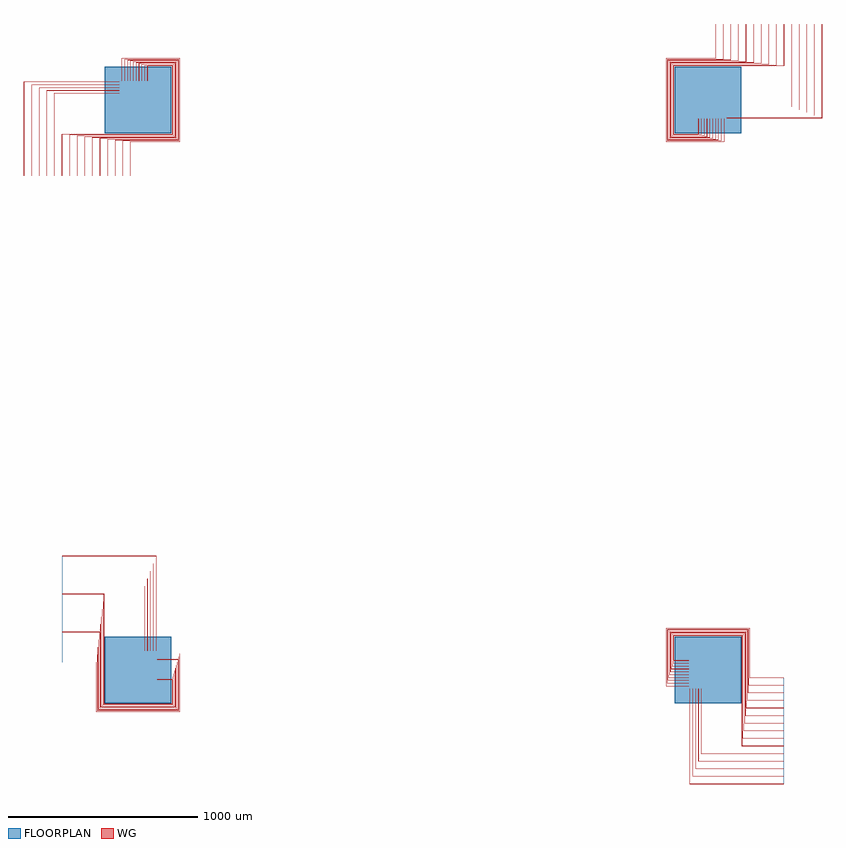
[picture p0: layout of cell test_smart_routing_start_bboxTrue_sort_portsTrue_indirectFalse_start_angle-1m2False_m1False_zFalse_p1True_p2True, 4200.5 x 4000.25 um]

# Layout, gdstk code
import gdstk
lib = gdstk.Library(unit=1e-6, precision=1e-09)
def R(c, l, rs):  # rectangles x0, y0, x1, y1
    for r in rs: c.add(gdstk.rectangle(r[:2], r[2:], *l))
def P(c, l, *ps):  # polygons
    for p in ps: c.add(gdstk.Polygon(p, *l))
WG = (1, 0)
FLOORPLAN = (10, 0)

test_smart_routing_start = lib.new_cell('test_smart_routing_start_bboxTrue_sort_portsTrue_indirectFalse_start_angle-1m2False_m1False_zFalse_p1True_p2True')
P(test_smart_routing_start, WG, [(3100,2905.05),(3100,2905.25),(3599.75,2905.25),(3599.75,3400),(3599.95,3400),(3599.95,2905.05)],
  [(3100,2904.75),(3100,2904.95),(3600.05,2904.95),(3600.05,3400),(3600.25,3400),(3600.25,2904.75)],
  [(3100,2920.05),(3100,2920.25),(3559.75,2920.25),(3559.75,3400),(3559.95,3400),(3559.95,2920.05)],
  [(3100,2919.75),(3100,2919.95),(3560.05,2919.95),(3560.05,3400),(3560.25,3400),(3560.25,2919.75)],
  [(3100,2935.05),(3100,2935.25),(3519.75,2935.25),(3519.75,3400),(3519.95,3400),(3519.95,2935.05)],
  [(3100,2934.75),(3100,2934.95),(3520.05,2934.95),(3520.05,3400),(3520.25,3400),(3520.25,2934.75)],
  [(3100,2950.05),(3100,2950.25),(3479.75,2950.25),(3479.75,3400),(3479.95,3400),(3479.95,2950.05)],
  [(3100,2949.75),(3100,2949.95),(3480.05,2949.95),(3480.05,3400),(3480.25,3400),(3480.25,2949.75)],
  [(3100,2965.05),(3100,2965.25),(3439.75,2965.25),(3439.75,3400),(3439.95,3400),(3439.95,2965.05)],
  [(3100,2964.75),(3100,2964.95),(3440.05,2964.95),(3440.05,3400),(3440.25,3400),(3440.25,2964.75)],
  [(2820.5,2820.5),(2820.5,3179.5),(3399.75,3179.5),(3399.75,3400),(3399.95,3400),(3399.95,3179.3),(2820.7,3179.3),(2820.7,2820.7),(2950.05,2820.7),(2950.05,2900),(2950.25,2900),(2950.25,2820.5)],
  [(2820.8,2820.8),(2820.8,3179.2),(3400.05,3179.2),(3400.05,3400),(3400.25,3400),(3400.25,3179),(2821,3179),(2821,2821),(2949.75,2821),(2949.75,2900),(2949.95,2900),(2949.95,2820.8)],
  [(2816,2816),(2816,3184),(3359.75,3184),(3359.75,3400),(3359.95,3400),(3359.95,3183.8),(2816.2,3183.8),(2816.2,2816.2),(2965.05,2816.2),(2965.05,2900),(2965.25,2900),(2965.25,2816)],
  [(2816.3,2816.3),(2816.3,3183.7),(3360.05,3183.7),(3360.05,3400),(3360.25,3400),(3360.25,3183.5),(2816.5,3183.5),(2816.5,2816.5),(2964.75,2816.5),(2964.75,2900),(2964.95,2900),(2964.95,2816.3)],
  [(2811.5,2811.5),(2811.5,3188.5),(3319.75,3188.5),(3319.75,3400),(3319.95,3400),(3319.95,3188.3),(2811.7,3188.3),(2811.7,2811.7),(2980.05,2811.7),(2980.05,2900),(2980.25,2900),(2980.25,2811.5)],
  [(2811.8,2811.8),(2811.8,3188.2),(3320.05,3188.2),(3320.05,3400),(3320.25,3400),(3320.25,3188),(2812,3188),(2812,2812),(2979.75,2812),(2979.75,2900),(2979.95,2900),(2979.95,2811.8)],
  [(2807,2807),(2807,3193),(3279.75,3193),(3279.75,3400),(3279.95,3400),(3279.95,3192.8),(2807.2,3192.8),(2807.2,2807.2),(2995.05,2807.2),(2995.05,2900),(2995.25,2900),(2995.25,2807)],
  [(2807.3,2807.3),(2807.3,3192.7),(3280.05,3192.7),(3280.05,3400),(3280.25,3400),(3280.25,3192.5),(2807.5,3192.5),(2807.5,2807.5),(2994.75,2807.5),(2994.75,2900),(2994.95,2900),(2994.95,2807.3)],
  [(2802.5,2802.5),(2802.5,3197.5),(3239.75,3197.5),(3239.75,3400),(3239.95,3400),(3239.95,3197.3),(2802.7,3197.3),(2802.7,2802.7),(3010.05,2802.7),(3010.05,2900),(3010.25,2900),(3010.25,2802.5)],
  [(2802.8,2802.8),(2802.8,3197.2),(3240.05,3197.2),(3240.05,3400),(3240.25,3400),(3240.25,3197),(2803,3197),(2803,2803),(3009.75,2803),(3009.75,2900),(3009.95,2900),(3009.95,2802.8)],
  [(2798,2798),(2798,3202),(3199.75,3202),(3199.75,3400),(3199.95,3400),(3199.95,3201.8),(2798.2,3201.8),(2798.2,2798.2),(3025.05,2798.2),(3025.05,2900),(3025.25,2900),(3025.25,2798)],
  [(2798.3,2798.3),(2798.3,3201.7),(3200.05,3201.7),(3200.05,3400),(3200.25,3400),(3200.25,3201.5),(2798.5,3201.5),(2798.5,2798.5),(3024.75,2798.5),(3024.75,2900),(3024.95,2900),(3024.95,2798.3)],
  [(2793.5,2793.5),(2793.5,3206.5),(3159.75,3206.5),(3159.75,3400),(3159.95,3400),(3159.95,3206.3),(2793.7,3206.3),(2793.7,2793.7),(3040.05,2793.7),(3040.05,2900),(3040.25,2900),(3040.25,2793.5)],
  [(2793.8,2793.8),(2793.8,3206.2),(3160.05,3206.2),(3160.05,3400),(3160.25,3400),(3160.25,3206),(2794,3206),(2794,2794),(3039.75,2794),(3039.75,2900),(3039.95,2900),(3039.95,2793.8)],
  [(2789,2789),(2789,3211),(3119.75,3211),(3119.75,3400),(3119.95,3400),(3119.95,3210.8),(2789.2,3210.8),(2789.2,2789.2),(3055.05,2789.2),(3055.05,2900),(3055.25,2900),(3055.25,2789)],
  [(2789.3,2789.3),(2789.3,3210.7),(3120.05,3210.7),(3120.05,3400),(3120.25,3400),(3120.25,3210.5),(2789.5,3210.5),(2789.5,2789.5),(3054.75,2789.5),(3054.75,2900),(3054.95,2900),(3054.95,2789.3)],
  [(2784.5,2784.5),(2784.5,3215.5),(3079.75,3215.5),(3079.75,3400),(3079.95,3400),(3079.95,3215.3),(2784.7,3215.3),(2784.7,2784.7),(3070.05,2784.7),(3070.05,2900),(3070.25,2900),(3070.25,2784.5)],
  [(2784.8,2784.8),(2784.8,3215.2),(3080.05,3215.2),(3080.05,3400),(3080.25,3400),(3080.25,3215),(2785,3215),(2785,2785),(3069.75,2785),(3069.75,2900),(3069.95,2900),(3069.95,2784.8)],
  [(2780,2780),(2780,3220),(3039.75,3220),(3039.75,3400),(3039.95,3400),(3039.95,3219.8),(2780.2,3219.8),(2780.2,2780.2),(3085.05,2780.2),(3085.05,2900),(3085.25,2900),(3085.25,2780)],
  [(2780.3,2780.3),(2780.3,3219.7),(3040.05,3219.7),(3040.05,3400),(3040.25,3400),(3040.25,3219.5),(2780.5,3219.5),(2780.5,2780.5),(3084.75,2780.5),(3084.75,2900),(3084.95,2900),(3084.95,2780.3)],
  [(-599.95,2600),(-599.95,3094.95),(-100,3094.95),(-100,3094.75),(-599.75,3094.75),(-599.75,2600)],
  [(-600.25,2600),(-600.25,3095.25),(-100,3095.25),(-100,3095.05),(-600.05,3095.05),(-600.05,2600)],
  [(-559.95,2600),(-559.95,3079.95),(-100,3079.95),(-100,3079.75),(-559.75,3079.75),(-559.75,2600)],
  [(-560.25,2600),(-560.25,3080.25),(-100,3080.25),(-100,3080.05),(-560.05,3080.05),(-560.05,2600)],
  [(-519.95,2600),(-519.95,3064.95),(-100,3064.95),(-100,3064.75),(-519.75,3064.75),(-519.75,2600)],
  [(-520.25,2600),(-520.25,3065.25),(-100,3065.25),(-100,3065.05),(-520.05,3065.05),(-520.05,2600)],
  [(-479.95,2600),(-479.95,3049.95),(-100,3049.95),(-100,3049.75),(-479.75,3049.75),(-479.75,2600)],
  [(-480.25,2600),(-480.25,3050.25),(-100,3050.25),(-100,3050.05),(-480.05,3050.05),(-480.05,2600)],
  [(-439.95,2600),(-439.95,3034.95),(-100,3034.95),(-100,3034.75),(-439.75,3034.75),(-439.75,2600)],
  [(-440.25,2600),(-440.25,3035.25),(-100,3035.25),(-100,3035.05),(-440.05,3035.05),(-440.05,2600)],
  [(-400.25,2600),(-400.25,2821),(179,2821),(179,3179),(50.25,3179),(50.25,3100),(50.05,3100),(50.05,3179.2),(179.2,3179.2),(179.2,2820.8),(-400.05,2820.8),(-400.05,2600)],
  [(-399.95,2600),(-399.95,2820.7),(179.3,2820.7),(179.3,3179.3),(49.95,3179.3),(49.95,3100),(49.75,3100),(49.75,3179.5),(179.5,3179.5),(179.5,2820.5),(-399.75,2820.5),(-399.75,2600)],
  [(-360.25,2600),(-360.25,2816.5),(183.5,2816.5),(183.5,3183.5),(35.25,3183.5),(35.25,3100),(35.05,3100),(35.05,3183.7),(183.7,3183.7),(183.7,2816.3),(-360.05,2816.3),(-360.05,2600)],
  [(-359.95,2600),(-359.95,2816.2),(183.8,2816.2),(183.8,3183.8),(34.95,3183.8),(34.95,3100),(34.75,3100),(34.75,3184),(184,3184),(184,2816),(-359.75,2816),(-359.75,2600)],
  [(-320.25,2600),(-320.25,2812),(188,2812),(188,3188),(20.25,3188),(20.25,3100),(20.05,3100),(20.05,3188.2),(188.2,3188.2),(188.2,2811.8),(-320.05,2811.8),(-320.05,2600)],
  [(-319.95,2600),(-319.95,2811.7),(188.3,2811.7),(188.3,3188.3),(19.95,3188.3),(19.95,3100),(19.75,3100),(19.75,3188.5),(188.5,3188.5),(188.5,2811.5),(-319.75,2811.5),(-319.75,2600)],
  [(-280.25,2600),(-280.25,2807.5),(192.5,2807.5),(192.5,3192.5),(5.25,3192.5),(5.25,3100),(5.05,3100),(5.05,3192.7),(192.7,3192.7),(192.7,2807.3),(-280.05,2807.3),(-280.05,2600)],
  [(-279.95,2600),(-279.95,2807.2),(192.8,2807.2),(192.8,3192.8),(4.95,3192.8),(4.95,3100),(4.75,3100),(4.75,3193),(193,3193),(193,2807),(-279.75,2807),(-279.75,2600)],
  [(-240.25,2600),(-240.25,2803),(197,2803),(197,3197),(-9.75,3197),(-9.75,3100),(-9.95,3100),(-9.95,3197.2),(197.2,3197.2),(197.2,2802.8),(-240.05,2802.8),(-240.05,2600)],
  [(-239.95,2600),(-239.95,2802.7),(197.3,2802.7),(197.3,3197.3),(-10.05,3197.3),(-10.05,3100),(-10.25,3100),(-10.25,3197.5),(197.5,3197.5),(197.5,2802.5),(-239.75,2802.5),(-239.75,2600)],
  [(-200.25,2600),(-200.25,2798.5),(201.5,2798.5),(201.5,3201.5),(-24.75,3201.5),(-24.75,3100),(-24.95,3100),(-24.95,3201.7),(201.7,3201.7),(201.7,2798.3),(-200.05,2798.3),(-200.05,2600)],
  [(-199.95,2600),(-199.95,2798.2),(201.8,2798.2),(201.8,3201.8),(-25.05,3201.8),(-25.05,3100),(-25.25,3100),(-25.25,3202),(202,3202),(202,2798),(-199.75,2798),(-199.75,2600)],
  [(-160.25,2600),(-160.25,2794),(206,2794),(206,3206),(-39.75,3206),(-39.75,3100),(-39.95,3100),(-39.95,3206.2),(206.2,3206.2),(206.2,2793.8),(-160.05,2793.8),(-160.05,2600)],
  [(-159.95,2600),(-159.95,2793.7),(206.3,2793.7),(206.3,3206.3),(-40.05,3206.3),(-40.05,3100),(-40.25,3100),(-40.25,3206.5),(206.5,3206.5),(206.5,2793.5),(-159.75,2793.5),(-159.75,2600)],
  [(-120.25,2600),(-120.25,2789.5),(210.5,2789.5),(210.5,3210.5),(-54.75,3210.5),(-54.75,3100),(-54.95,3100),(-54.95,3210.7),(210.7,3210.7),(210.7,2789.3),(-120.05,2789.3),(-120.05,2600)],
  [(-119.95,2600),(-119.95,2789.2),(210.8,2789.2),(210.8,3210.8),(-55.05,3210.8),(-55.05,3100),(-55.25,3100),(-55.25,3211),(211,3211),(211,2789),(-119.75,2789),(-119.75,2600)],
  [(-80.25,2600),(-80.25,2785),(215,2785),(215,3215),(-69.75,3215),(-69.75,3100),(-69.95,3100),(-69.95,3215.2),(215.2,3215.2),(215.2,2784.8),(-80.05,2784.8),(-80.05,2600)],
  [(-79.95,2600),(-79.95,2784.7),(215.3,2784.7),(215.3,3215.3),(-70.05,3215.3),(-70.05,3100),(-70.25,3100),(-70.25,3215.5),(215.5,3215.5),(215.5,2784.5),(-79.75,2784.5),(-79.75,2600)],
  [(-40.25,2600),(-40.25,2780.5),(219.5,2780.5),(219.5,3219.5),(-84.75,3219.5),(-84.75,3100),(-84.95,3100),(-84.95,3219.7),(219.7,3219.7),(219.7,2780.3),(-40.05,2780.3),(-40.05,2600)],
  [(-39.95,2600),(-39.95,2780.2),(219.8,2780.2),(219.8,3219.8),(-85.05,3219.8),(-85.05,3100),(-85.25,3100),(-85.25,3220),(220,3220),(220,2780),(-39.75,2780),(-39.75,2600)],
  [(94.75,100),(94.75,599.75),(-400,599.75),(-400,599.95),(94.95,599.95),(94.95,100)],
  [(95.05,100),(95.05,600.05),(-400,600.05),(-400,600.25),(95.25,600.25),(95.25,100)],
  [(79.75,100),(79.75,559.75),(-400,559.75),(-400,559.95),(79.95,559.95),(79.95,100)],
  [(80.05,100),(80.05,560.05),(-400,560.05),(-400,560.25),(80.25,560.25),(80.25,100)],
  [(64.75,100),(64.75,519.75),(-400,519.75),(-400,519.95),(64.95,519.95),(64.95,100)],
  [(65.05,100),(65.05,520.05),(-400,520.05),(-400,520.25),(65.25,520.25),(65.25,100)],
  [(49.75,100),(49.75,479.75),(-400,479.75),(-400,479.95),(49.95,479.95),(49.95,100)],
  [(50.05,100),(50.05,480.05),(-400,480.05),(-400,480.25),(50.25,480.25),(50.25,100)],
  [(34.75,100),(34.75,439.75),(-400,439.75),(-400,439.95),(34.95,439.95),(34.95,100)],
  [(35.05,100),(35.05,440.05),(-400,440.05),(-400,440.25),(35.25,440.25),(35.25,100)],
  [(-179.5,-179.5),(-179.5,399.75),(-400,399.75),(-400,399.95),(-179.3,399.95),(-179.3,-179.3),(179.3,-179.3),(179.3,-49.95),(100,-49.95),(100,-49.75),(179.5,-49.75),(179.5,-179.5)],
  [(-179.2,-179.2),(-179.2,400.05),(-400,400.05),(-400,400.25),(-179,400.25),(-179,-179),(179,-179),(179,-50.25),(100,-50.25),(100,-50.05),(179.2,-50.05),(179.2,-179.2)],
  [(-184,-184),(-184,359.75),(-400,359.75),(-400,359.95),(-183.8,359.95),(-183.8,-183.8),(183.8,-183.8),(183.8,-34.95),(100,-34.95),(100,-34.75),(184,-34.75),(184,-184)],
  [(-183.7,-183.7),(-183.7,360.05),(-400,360.05),(-400,360.25),(-183.5,360.25),(-183.5,-183.5),(183.5,-183.5),(183.5,-35.25),(100,-35.25),(100,-35.05),(183.7,-35.05),(183.7,-183.7)],
  [(-188.5,-188.5),(-188.5,319.75),(-400,319.75),(-400,319.95),(-188.3,319.95),(-188.3,-188.3),(188.3,-188.3),(188.3,-19.95),(100,-19.95),(100,-19.75),(188.5,-19.75),(188.5,-188.5)],
  [(-188.2,-188.2),(-188.2,320.05),(-400,320.05),(-400,320.25),(-188,320.25),(-188,-188),(188,-188),(188,-20.25),(100,-20.25),(100,-20.05),(188.2,-20.05),(188.2,-188.2)],
  [(-193,-193),(-193,279.75),(-400,279.75),(-400,279.95),(-192.8,279.95),(-192.8,-192.8),(192.8,-192.8),(192.8,-4.95),(100,-4.95),(100,-4.75),(193,-4.75),(193,-193)],
  [(-192.7,-192.7),(-192.7,280.05),(-400,280.05),(-400,280.25),(-192.5,280.25),(-192.5,-192.5),(192.5,-192.5),(192.5,-5.25),(100,-5.25),(100,-5.05),(192.7,-5.05),(192.7,-192.7)],
  [(-197.5,-197.5),(-197.5,239.75),(-400,239.75),(-400,239.95),(-197.3,239.95),(-197.3,-197.3),(197.3,-197.3),(197.3,10.05),(100,10.05),(100,10.25),(197.5,10.25),(197.5,-197.5)],
  [(-197.2,-197.2),(-197.2,240.05),(-400,240.05),(-400,240.25),(-197,240.25),(-197,-197),(197,-197),(197,9.75),(100,9.75),(100,9.95),(197.2,9.95),(197.2,-197.2)],
  [(-202,-202),(-202,199.75),(-400,199.75),(-400,199.95),(-201.8,199.95),(-201.8,-201.8),(201.8,-201.8),(201.8,25.05),(100,25.05),(100,25.25),(202,25.25),(202,-202)],
  [(-201.7,-201.7),(-201.7,200.05),(-400,200.05),(-400,200.25),(-201.5,200.25),(-201.5,-201.5),(201.5,-201.5),(201.5,24.75),(100,24.75),(100,24.95),(201.7,24.95),(201.7,-201.7)],
  [(-206.5,-206.5),(-206.5,159.75),(-400,159.75),(-400,159.95),(-206.3,159.95),(-206.3,-206.3),(206.3,-206.3),(206.3,40.05),(100,40.05),(100,40.25),(206.5,40.25),(206.5,-206.5)],
  [(-206.2,-206.2),(-206.2,160.05),(-400,160.05),(-400,160.25),(-206,160.25),(-206,-206),(206,-206),(206,39.75),(100,39.75),(100,39.95),(206.2,39.95),(206.2,-206.2)],
  [(-211,-211),(-211,119.75),(-400,119.75),(-400,119.95),(-210.8,119.95),(-210.8,-210.8),(210.8,-210.8),(210.8,55.05),(100,55.05),(100,55.25),(211,55.25),(211,-211)],
  [(-210.7,-210.7),(-210.7,120.05),(-400,120.05),(-400,120.25),(-210.5,120.25),(-210.5,-210.5),(210.5,-210.5),(210.5,54.75),(100,54.75),(100,54.95),(210.7,54.95),(210.7,-210.7)],
  [(-215.5,-215.5),(-215.5,79.75),(-400,79.75),(-400,79.95),(-215.3,79.95),(-215.3,-215.3),(215.3,-215.3),(215.3,70.05),(100,70.05),(100,70.25),(215.5,70.25),(215.5,-215.5)],
  [(-215.2,-215.2),(-215.2,80.05),(-400,80.05),(-400,80.25),(-215,80.25),(-215,-215),(215,-215),(215,69.75),(100,69.75),(100,69.95),(215.2,69.95),(215.2,-215.2)],
  [(-219.7,-219.7),(-219.7,40.05),(-400,40.05),(-400,40.25),(-219.5,40.25),(-219.5,-219.5),(219.5,-219.5),(219.5,84.75),(100,84.75),(100,84.95),(219.7,84.95),(219.7,-219.7)],
  [(-220,-220),(-220,39.75),(-400,39.75),(-400,39.95),(-219.8,39.95),(-219.8,-219.8),(219.8,-219.8),(219.8,85.05),(100,85.05),(100,85.25),(220,85.25),(220,-220)],
  [(2904.75,-600.25),(2904.75,-100),(2904.95,-100),(2904.95,-600.05),(3400,-600.05),(3400,-600.25)],
  [(2905.05,-599.95),(2905.05,-100),(2905.25,-100),(2905.25,-599.75),(3400,-599.75),(3400,-599.95)],
  [(2919.75,-560.25),(2919.75,-100),(2919.95,-100),(2919.95,-560.05),(3400,-560.05),(3400,-560.25)],
  [(2920.05,-559.95),(2920.05,-100),(2920.25,-100),(2920.25,-559.75),(3400,-559.75),(3400,-559.95)],
  [(2934.75,-520.25),(2934.75,-100),(2934.95,-100),(2934.95,-520.05),(3400,-520.05),(3400,-520.25)],
  [(2935.05,-519.95),(2935.05,-100),(2935.25,-100),(2935.25,-519.75),(3400,-519.75),(3400,-519.95)],
  [(2949.75,-480.25),(2949.75,-100),(2949.95,-100),(2949.95,-480.05),(3400,-480.05),(3400,-480.25)],
  [(2950.05,-479.95),(2950.05,-100),(2950.25,-100),(2950.25,-479.75),(3400,-479.75),(3400,-479.95)],
  [(2964.75,-440.25),(2964.75,-100),(2964.95,-100),(2964.95,-440.05),(3400,-440.05),(3400,-440.25)],
  [(2965.05,-439.95),(2965.05,-100),(2965.25,-100),(2965.25,-439.75),(3400,-439.75),(3400,-439.95)],
  [(3179,-400.25),(3179,179),(2821,179),(2821,50.25),(2900,50.25),(2900,50.05),(2820.8,50.05),(2820.8,179.2),(3179.2,179.2),(3179.2,-400.05),(3400,-400.05),(3400,-400.25)],
  [(3179.3,-399.95),(3179.3,179.3),(2820.7,179.3),(2820.7,49.95),(2900,49.95),(2900,49.75),(2820.5,49.75),(2820.5,179.5),(3179.5,179.5),(3179.5,-399.75),(3400,-399.75),(3400,-399.95)],
  [(3183.5,-360.25),(3183.5,183.5),(2816.5,183.5),(2816.5,35.25),(2900,35.25),(2900,35.05),(2816.3,35.05),(2816.3,183.7),(3183.7,183.7),(3183.7,-360.05),(3400,-360.05),(3400,-360.25)],
  [(3183.8,-359.95),(3183.8,183.8),(2816.2,183.8),(2816.2,34.95),(2900,34.95),(2900,34.75),(2816,34.75),(2816,184),(3184,184),(3184,-359.75),(3400,-359.75),(3400,-359.95)],
  [(3188,-320.25),(3188,188),(2812,188),(2812,20.25),(2900,20.25),(2900,20.05),(2811.8,20.05),(2811.8,188.2),(3188.2,188.2),(3188.2,-320.05),(3400,-320.05),(3400,-320.25)],
  [(3188.3,-319.95),(3188.3,188.3),(2811.7,188.3),(2811.7,19.95),(2900,19.95),(2900,19.75),(2811.5,19.75),(2811.5,188.5),(3188.5,188.5),(3188.5,-319.75),(3400,-319.75),(3400,-319.95)],
  [(3192.5,-280.25),(3192.5,192.5),(2807.5,192.5),(2807.5,5.25),(2900,5.25),(2900,5.05),(2807.3,5.05),(2807.3,192.7),(3192.7,192.7),(3192.7,-280.05),(3400,-280.05),(3400,-280.25)],
  [(3192.8,-279.95),(3192.8,192.8),(2807.2,192.8),(2807.2,4.95),(2900,4.95),(2900,4.75),(2807,4.75),(2807,193),(3193,193),(3193,-279.75),(3400,-279.75),(3400,-279.95)],
  [(3197,-240.25),(3197,197),(2803,197),(2803,-9.75),(2900,-9.75),(2900,-9.95),(2802.8,-9.95),(2802.8,197.2),(3197.2,197.2),(3197.2,-240.05),(3400,-240.05),(3400,-240.25)],
  [(3197.3,-239.95),(3197.3,197.3),(2802.7,197.3),(2802.7,-10.05),(2900,-10.05),(2900,-10.25),(2802.5,-10.25),(2802.5,197.5),(3197.5,197.5),(3197.5,-239.75),(3400,-239.75),(3400,-239.95)],
  [(3201.5,-200.25),(3201.5,201.5),(2798.5,201.5),(2798.5,-24.75),(2900,-24.75),(2900,-24.95),(2798.3,-24.95),(2798.3,201.7),(3201.7,201.7),(3201.7,-200.05),(3400,-200.05),(3400,-200.25)],
  [(3201.8,-199.95),(3201.8,201.8),(2798.2,201.8),(2798.2,-25.05),(2900,-25.05),(2900,-25.25),(2798,-25.25),(2798,202),(3202,202),(3202,-199.75),(3400,-199.75),(3400,-199.95)],
  [(3206,-160.25),(3206,206),(2794,206),(2794,-39.75),(2900,-39.75),(2900,-39.95),(2793.8,-39.95),(2793.8,206.2),(3206.2,206.2),(3206.2,-160.05),(3400,-160.05),(3400,-160.25)],
  [(3206.3,-159.95),(3206.3,206.3),(2793.7,206.3),(2793.7,-40.05),(2900,-40.05),(2900,-40.25),(2793.5,-40.25),(2793.5,206.5),(3206.5,206.5),(3206.5,-159.75),(3400,-159.75),(3400,-159.95)],
  [(3210.5,-120.25),(3210.5,210.5),(2789.5,210.5),(2789.5,-54.75),(2900,-54.75),(2900,-54.95),(2789.3,-54.95),(2789.3,210.7),(3210.7,210.7),(3210.7,-120.05),(3400,-120.05),(3400,-120.25)],
  [(3210.8,-119.95),(3210.8,210.8),(2789.2,210.8),(2789.2,-55.05),(2900,-55.05),(2900,-55.25),(2789,-55.25),(2789,211),(3211,211),(3211,-119.75),(3400,-119.75),(3400,-119.95)],
  [(3215,-80.25),(3215,215),(2785,215),(2785,-69.75),(2900,-69.75),(2900,-69.95),(2784.8,-69.95),(2784.8,215.2),(3215.2,215.2),(3215.2,-80.05),(3400,-80.05),(3400,-80.25)],
  [(3215.3,-79.95),(3215.3,215.3),(2784.7,215.3),(2784.7,-70.05),(2900,-70.05),(2900,-70.25),(2784.5,-70.25),(2784.5,215.5),(3215.5,215.5),(3215.5,-79.75),(3400,-79.75),(3400,-79.95)],
  [(2780.3,-84.95),(2780.3,219.7),(3219.7,219.7),(3219.7,-40.05),(3400,-40.05),(3400,-40.25),(3219.5,-40.25),(3219.5,219.5),(2780.5,219.5),(2780.5,-84.75),(2900,-84.75),(2900,-84.95)],
  [(2780,-85.25),(2780,220),(3220,220),(3220,-39.75),(3400,-39.75),(3400,-39.95),(3219.8,-39.95),(3219.8,219.8),(2780.2,219.8),(2780.2,-85.05),(2900,-85.05),(2900,-85.25)])
R(test_smart_routing_start, FLOORPLAN, [(-175,-175,175,175), (2825,-175,3175,175), (-175,2825,175,3175), (2825,2825,3175,3175)])
P(test_smart_routing_start, FLOORPLAN, [(-400,40),(-400,600),(-400,600),(-400,40)],
  [(-600,2600),(-600,2600),(-40,2600),(-40,2600)],
  [(3400,-600),(3400,-40),(3400,-40),(3400,-600)],
  [(3040,3400),(3040,3400),(3600,3400),(3600,3400)])

lib.write_gds('test_smart_routing_start_bboxTrue_sort_portsTrue_indirectFalse_start_angle-1m2False_m1False_zFalse_p1True_p2True.gds')
